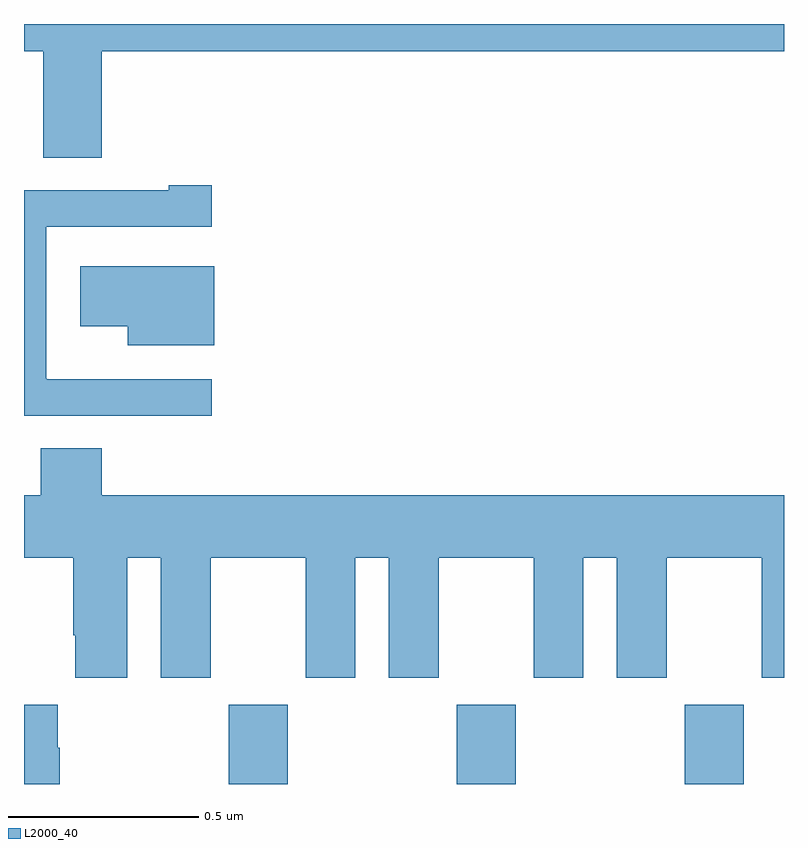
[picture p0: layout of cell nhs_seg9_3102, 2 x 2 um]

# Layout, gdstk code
import gdstk
lib = gdstk.Library(unit=1e-6, precision=1e-09)
def R(c, l, rs):  # rectangles x0, y0, x1, y1
    for r in rs: c.add(gdstk.rectangle(r[:2], r[2:], *l))
def A(c, l, x, y, w, h, nx, ny, dx, dy):  # array of equal rectangles
    R(c, l, [(x+i*dx, y+j*dy, x+i*dx+w, y+j*dy+h) for i in range(nx) for j in range(ny)])
def P(c, l, *ps):  # polygons
    for p in ps: c.add(gdstk.Polygon(p, *l))
L2000_40 = (2000, 40)

nhs_seg9_3102 = lib.new_cell('nhs_seg9_3102')
A(nhs_seg9_3102, L2000_40, 149.539, 1186.5, 0.155, 0.208, 3, 1, 0.6, 0)
P(nhs_seg9_3102, L2000_40, [(149.204,1188.428),(151,1188.428),(151,1188.5),(149,1188.5),(149,1188.428),(149.051,1188.428),(149.051,1188.148),(149.204,1188.148)],
  [(149.494,1187.565),(149.06,1187.565),(149.06,1187.566),(149.058,1187.566),(149.058,1187.967),(149.494,1187.967),(149.494,1188.076),(149.381,1188.076),(149.381,1188.063),(149,1188.063),(149,1187.469),(149.494,1187.469)],
  [(149.5,1187.863),(149.148,1187.863),(149.148,1187.705),(149.273,1187.705),(149.273,1187.654),(149.5,1187.654)],
  [(149.272,1187.096),(149.36,1187.096),(149.36,1186.779),(149.491,1186.779),(149.491,1187.096),(149.741,1187.096),(149.741,1186.779),(149.872,1186.779),(149.872,1187.096),(149.96,1187.096),(149.96,1186.779),(150.091,1186.779),(150.091,1187.096),(150.341,1187.096),(150.341,1186.779),(150.472,1186.779),(150.472,1187.096),(150.56,1187.096),(150.56,1186.779),(150.691,1186.779),(150.691,1187.096),(150.941,1187.096),(150.941,1186.779),(151,1186.779),(151,1187.26),(149.204,1187.26),(149.204,1187.384),(149.044,1187.384),(149.044,1187.26),(149,1187.26),(149,1187.096),(149.129,1187.096),(149.129,1186.891),(149.135,1186.891),(149.135,1186.779),(149.272,1186.779)],
  [(149.094,1186.595),(149.089,1186.595),(149.089,1186.708),(149,1186.708),(149,1186.5),(149.094,1186.5)])

lib.write_gds('nhs_seg9_3102.gds')
